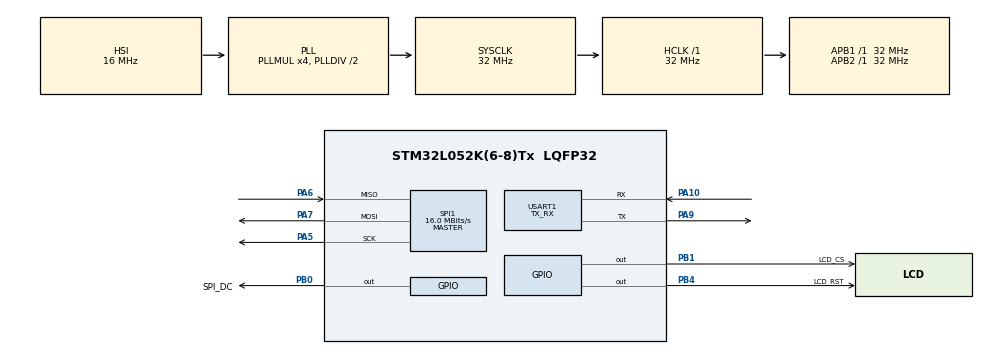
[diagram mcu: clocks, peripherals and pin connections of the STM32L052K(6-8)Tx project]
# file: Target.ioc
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Mcu.Family=STM32L0
Mcu.Name=STM32L052K(6-8)Tx
Mcu.Package=LQFP32
NVIC.USART1_IRQn=true\:0\:0\:false\:true\:true\:1\:true\:true\:true
PA10.Mode=Asynchronous
PA10.Signal=USART1_RX
PA13.Mode=Serial_Wire
PA13.Signal=SYS_SWDIO
PA14.Mode=Serial_Wire
PA14.Signal=SYS_SWCLK
PA5.Mode=Full_Duplex_Master
PA5.Signal=SPI1_SCK
PA6.Mode=Full_Duplex_Master
PA6.Signal=SPI1_MISO
PA7.Mode=Full_Duplex_Master
PA7.Signal=SPI1_MOSI
PA9.Mode=Asynchronous
PA9.Signal=USART1_TX
PB0.GPIO_Label=SPI_DC
PB0.GPIO_Speed=GPIO_SPEED_FREQ_VERY_HIGH
PB0.Signal=GPIO_Output
PB1.GPIO_Label=LCD_CS
PB1.GPIO_Speed=GPIO_SPEED_FREQ_VERY_HIGH
PB1.Signal=GPIO_Output
PB4.GPIO_Label=LCD_RST
PB4.GPIO_Speed=GPIO_SPEED_FREQ_VERY_HIGH
PB4.Signal=GPIO_Output
ProjectManager.HeapSize=0x200
ProjectManager.StackSize=0x400
ProjectManager.TargetToolchain=STM32CubeIDE
RCC.AHBFreq_Value=32000000
RCC.APB1Freq_Value=32000000
RCC.APB1TimFreq_Value=32000000
RCC.APB2Freq_Value=32000000
RCC.APB2TimFreq_Value=32000000
RCC.HCLKFreq_Value=32000000
RCC.HSI16_VALUE=16000000
RCC.HSI48_VALUE=48000000
RCC.HSI_VALUE=16000000
RCC.LSE_VALUE=32768
RCC.MSI_VALUE=2097000
RCC.PLLMUL=RCC_PLLMUL_4
RCC.SYSCLKFreq_VALUE=32000000
RCC.SYSCLKSource=RCC_SYSCLKSOURCE_PLLCLK
RCC.VCOOutputFreq_Value=64000000
SPI1.CalculateBaudRate=16.0 MBits/s
SPI1.Direction=SPI_DIRECTION_2LINES
SPI1.Mode=SPI_MODE_MASTER
SPI1.VirtualType=VM_MASTER
USART1.Mode=MODE_TX_RX
USART1.SwapParam=ADVFEATURE_SWAP_DISABLE
USART1.VirtualMode-Asynchronous=VM_ASYNC
board=custom

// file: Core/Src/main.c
/* USER CODE BEGIN Header */
/**
 ******************************************************************************
 * @file           : main.c
 * @brief          : Main program body
 ******************************************************************************
 * @attention
 *
 * Copyright (c) 2023 STMicroelectronics.
 * All rights reserved.
 *
 * This software is licensed under terms that can be found in the LICENSE file
 * in the root directory of this software component.
 * If no LICENSE file comes with this software, it is provided AS-IS.
 *
 ******************************************************************************
 */
/* USER CODE END Header */
#include "main.h"

/* USER CODE BEGIN Includes */
#include <stdio.h>
#include "fonts.h"
#include "ILI9341_GFX.h"
#include "ILI9341_STM32_Driver.h"
/* USER CODE END Includes */

/* USER CODE BEGIN PTD */
typedef enum{
	black, blue, green, red, yellow, white,
}LCD_COLOR;
/* USER CODE END PTD */

 SPI_HandleTypeDef hspi1;

UART_HandleTypeDef huart1;

/* USER CODE BEGIN PV */
uint8_t RxData;
uint8_t Txdata = 1;
uint8_t uartDat[10];
uint16_t COLOR[6] = { BLACK, BLUE, GREEN, RED, YELLOW, WHITE };
/* USER CODE END PV */

void SystemClock_Config(void);
static void MX_GPIO_Init(void);
static void MX_SPI1_Init(void);
static void MX_USART1_UART_Init(void);
static void MX_NVIC_Init(void);
/* USER CODE BEGIN PFP */

__STATIC_INLINE void reset_check(void){
	if(__HAL_RCC_GET_FLAG(RCC_FLAG_PORRST)){
		__HAL_RCC_CLEAR_RESET_FLAGS();
		HAL_DeInit();
		HAL_NVIC_SystemReset();
	}
}

/* USER CODE END PFP */

/* USER CODE BEGIN 0 */
void HAL_UART_RxCpltCallback(UART_HandleTypeDef *huart){
	if(huart->Instance == huart1.Instance){
		if(RxData == 0) return;
		HAL_UART_Transmit(&huart1, &Txdata, 1, 10);
		if(RxData == 1){
			HAL_UART_Receive(&huart1, uartDat, 1, 10);
			ILI9341_DrawColor(COLOR[uartDat[0]]);
		}
		if(RxData == 2){
			uint32_t size = 0;
			HAL_UART_Receive(&huart1, uartDat, 5, 10);
			for(uint8_t i = 0 ; i < 4 ; i++){
				size <<= 8;
				size |= uartDat[4 - i];
			}
			ILI9341_DrawColorBurst(COLOR[uartDat[0]], size);
		}
		if(RxData == 3){
			HAL_UART_Receive(&huart1, uartDat, 1, 10);
			ILI9341_FillScreen(COLOR[uartDat[0]]);
		}
		if(RxData == 4){
			uint16_t x = 0, y = 0;
			HAL_UART_Receive(&huart1, uartDat, 5, 10);
			x = uartDat[1];
			x <<= 8;
			x |= uartDat[0];
			y = uartDat[3];
			y <<= 8;
			y |= uartDat[2];
			ILI9341_DrawPixel(x, y, COLOR[uartDat[4]]);
		}
		if(RxData == 5){
			uint16_t x = 0, y = 0, width = 0, height = 0;
			HAL_UART_Receive(&huart1, uartDat, 9, 10);
			x = uartDat[1];
			x <<= 8;
			x |= uartDat[0];
			y = uartDat[3];
			y <<= 8;
			y |= uartDat[2];
			width = uartDat[5];
			width <<= 8;
			width |= uartDat[4];
			height = uartDat[7];
			height <<= 8;
			height |= uartDat[6];
			ILI9341_DrawRectangle(x, y, width, height, COLOR[uartDat[8]]);
		}
		if(RxData == 6){
			uint16_t x = 0, y = 0, width = 0;
			HAL_UART_Receive(&huart1, uartDat, 7, 10);
			x = uartDat[1];
			x <<= 8;
			x |= uartDat[0];
			y = uartDat[3];
			y <<= 8;
			y |= uartDat[2];
			width = uartDat[5];
			width <<= 8;
			width |= uartDat[4];
			ILI9341_DrawHLine(x, y, width, COLOR[uartDat[6]]);
		}
		if(RxData == 7){
			uint16_t x = 0, y = 0, height = 0;
			HAL_UART_Receive(&huart1, uartDat, 7, 10);
			x = uartDat[1];
			x <<= 8;
			x |= uartDat[0];
			y = uartDat[3];
			y <<= 8;
			y |= uartDat[2];
			height = uartDat[5];
			height <<= 8;
			height |= uartDat[4];
			ILI9341_DrawVLine(x, y, height, COLOR[uartDat[6]]);
		}
		if(RxData == 8){
			uint16_t x = 0, y = 0, radius = 0;
			HAL_UART_Receive(&huart1, uartDat, 7, 10);
			x = uartDat[1];
			x <<= 8;
			x |= uartDat[0];
			y = uartDat[3];
			y <<= 8;
			y |= uartDat[2];
			radius = uartDat[5];
			radius <<= 8;
			radius |= uartDat[4];
			ILI9341_DrawHollowCircle(x, y, radius, COLOR[uartDat[6]]);
		}
		if(RxData == 9){
			uint16_t x = 0, y = 0, radius = 0;
			HAL_UART_Receive(&huart1, uartDat, 7, 10);
			x = uartDat[1];
			x <<= 8;
			x |= uartDat[0];
			y = uartDat[3];
			y <<= 8;
			y |= uartDat[2];
			radius = uartDat[5];
			radius <<= 8;
			radius |= uartDat[4];
			ILI9341_DrawFilledCircle(x, y, radius, COLOR[uartDat[6]]);
		}
		if(RxData == 10){
			uint16_t x0, y0, x1, y1;
			HAL_UART_Receive(&huart1, uartDat, 9, 10);
			x0 = uartDat[1];
			x0 <<= 8;
			x0 |= uartDat[0];
			y0 = uartDat[3];
			y0 <<= 8;
			y0 |= uartDat[2];
			x1 = uartDat[5];
			x1 <<= 8;
			x1 |= uartDat[4];
			y1 = uartDat[7];
			y1 <<= 8;
			y1 |= uartDat[6];
			ILI9341_DrawHollowRectangleCoord(x0, y0, x1, y1, COLOR[uartDat[8]]);
		}
		if(RxData == 11){
			uint16_t x0, y0, x1, y1;
			HAL_UART_Receive(&huart1, uartDat, 9, 10);
			x0 = uartDat[1];
			x0 <<= 8;
			x0 |= uartDat[0];
			y0 = uartDat[3];
			y0 <<= 8;
			y0 |= uartDat[2];
			x1 = uartDat[5];
			x1 <<= 8;
			x1 |= uartDat[4];
			y1 = uartDat[7];
			y1 <<= 8;
			y1 |= uartDat[6];
			ILI9341_DrawFilledRectangleCoord(x0, y0, x1, y1, COLOR[uartDat[8]]);
		}
		if(RxData == 12){
			char ch;
			uint16_t x = 0, y = 0;
			HAL_UART_Receive(&huart1, uartDat, 7, 10);
			ch = (char)uartDat[0];
			x = uartDat[2];
			x <<= 8;
			x |= uartDat[1];
			y = uartDat[4];
			y <<= 8;
			y |= uartDat[3];
			ILI9341_DrawChar(ch, FONT, x, y, COLOR[uartDat[5]], COLOR[uartDat[6]]);
		}
		if(RxData == 13){
			char str[40] = { 0 };
			uint8_t cnt = 0;
			uint16_t x = 0, y = 0;

			while(1){
				char data;
				HAL_UART_Receive(&huart1, (uint8_t*)&data, 1, 10);

				if(data == '\0'){
					str[cnt] = '\0';
					break;
				}
				else str[cnt++] = data;
			}
			HAL_UART_Receive(&huart1, uartDat, 6, 10);
			x = uartDat[1];
			x <<= 8;
			x |= uartDat[0];
			y = uartDat[3];
			y <<= 8;
			y |= uartDat[2];
			ILI9341_DrawText(str, FONT, x, y, COLOR[uartDat[4]], COLOR[uartDat[5]]);
		}
		if(RxData == 14){
			ILI9341_Init();
		}
//		HAL_UART_Receive_IT(&huart1, &RxData, 1);
	}
}
/* USER CODE END 0 */

int main(void)
{

  /* MCU Configuration--------------------------------------------------------*/

  /* Reset of all peripherals, Initializes the Flash interface and the Systick. */
  HAL_Init();

  /* Configure the system clock */
  SystemClock_Config();

  /* Initialize all configured peripherals */
  MX_GPIO_Init();
  MX_SPI1_Init();
  MX_USART1_UART_Init();

  /* Initialize interrupts */
  MX_NVIC_Init();
  /* USER CODE BEGIN 2 */
  ILI9341_Init();
  /* USER CODE END 2 */

  /* Infinite loop */
  /* USER CODE BEGIN WHILE */
	while (1)
	{
//		reset_check();
		HAL_UART_Receive_IT(&huart1, &RxData, 1);
    /* USER CODE END WHILE */

	}
}

void SystemClock_Config(void)
{
  RCC_OscInitTypeDef RCC_OscInitStruct = {0};
  RCC_ClkInitTypeDef RCC_ClkInitStruct = {0};
  RCC_PeriphCLKInitTypeDef PeriphClkInit = {0};

  /** Configure the main internal regulator output voltage
  */
  __HAL_PWR_VOLTAGESCALING_CONFIG(PWR_REGULATOR_VOLTAGE_SCALE1);

  /** Initializes the RCC Oscillators according to the specified parameters
  * in the RCC_OscInitTypeDef structure.
  */
  RCC_OscInitStruct.OscillatorType = RCC_OSCILLATORTYPE_HSI;
  RCC_OscInitStruct.HSIState = RCC_HSI_ON;
  RCC_OscInitStruct.HSICalibrationValue = RCC_HSICALIBRATION_DEFAULT;
  RCC_OscInitStruct.PLL.PLLState = RCC_PLL_ON;
  RCC_OscInitStruct.PLL.PLLSource = RCC_PLLSOURCE_HSI;
  RCC_OscInitStruct.PLL.PLLMUL = RCC_PLLMUL_4;
  RCC_OscInitStruct.PLL.PLLDIV = RCC_PLLDIV_2;
  if (HAL_RCC_OscConfig(&RCC_OscInitStruct) != HAL_OK)
  {
    Error_Handler();
  }

  /** Initializes the CPU, AHB and APB buses clocks
  */
  RCC_ClkInitStruct.ClockType = RCC_CLOCKTYPE_HCLK|RCC_CLOCKTYPE_SYSCLK
                              |RCC_CLOCKTYPE_PCLK1|RCC_CLOCKTYPE_PCLK2;
  RCC_ClkInitStruct.SYSCLKSource = RCC_SYSCLKSOURCE_PLLCLK;
  RCC_ClkInitStruct.AHBCLKDivider = RCC_SYSCLK_DIV1;
  RCC_ClkInitStruct.APB1CLKDivider = RCC_HCLK_DIV1;
  RCC_ClkInitStruct.APB2CLKDivider = RCC_HCLK_DIV1;

  if (HAL_RCC_ClockConfig(&RCC_ClkInitStruct, FLASH_LATENCY_1) != HAL_OK)
  {
    Error_Handler();
  }
  PeriphClkInit.PeriphClockSelection = RCC_PERIPHCLK_USART1;
  PeriphClkInit.Usart1ClockSelection = RCC_USART1CLKSOURCE_PCLK2;
  if (HAL_RCCEx_PeriphCLKConfig(&PeriphClkInit) != HAL_OK)
  {
    Error_Handler();
  }
}

/**
  * @brief NVIC Configuration.
  * @retval None
  */
static void MX_NVIC_Init(void)
{
  /* USART1_IRQn interrupt configuration */
  HAL_NVIC_SetPriority(USART1_IRQn, 0, 0);
  HAL_NVIC_EnableIRQ(USART1_IRQn);
}

static void MX_SPI1_Init(void)
{

  /* SPI1 parameter configuration*/
  hspi1.Instance = SPI1;
  hspi1.Init.Mode = SPI_MODE_MASTER;
  hspi1.Init.Direction = SPI_DIRECTION_2LINES;
  hspi1.Init.DataSize = SPI_DATASIZE_8BIT;
  hspi1.Init.CLKPolarity = SPI_POLARITY_LOW;
  hspi1.Init.CLKPhase = SPI_PHASE_1EDGE;
  hspi1.Init.NSS = SPI_NSS_SOFT;
  hspi1.Init.BaudRatePrescaler = SPI_BAUDRATEPRESCALER_2;
  hspi1.Init.FirstBit = SPI_FIRSTBIT_MSB;
  hspi1.Init.TIMode = SPI_TIMODE_DISABLE;
  hspi1.Init.CRCCalculation = SPI_CRCCALCULATION_DISABLE;
  hspi1.Init.CRCPolynomial = 7;
  if (HAL_SPI_Init(&hspi1) != HAL_OK)
  {
    Error_Handler();
  }

}

static void MX_USART1_UART_Init(void)
{

  huart1.Instance = USART1;
  huart1.Init.BaudRate = 115200;
  huart1.Init.WordLength = UART_WORDLENGTH_8B;
  huart1.Init.StopBits = UART_STOPBITS_1;
  huart1.Init.Parity = UART_PARITY_NONE;
  huart1.Init.Mode = UART_MODE_TX_RX;
  huart1.Init.HwFlowCtl = UART_HWCONTROL_NONE;
  huart1.Init.OverSampling = UART_OVERSAMPLING_16;
  huart1.Init.OneBitSampling = UART_ONE_BIT_SAMPLE_DISABLE;
  huart1.AdvancedInit.AdvFeatureInit = UART_ADVFEATURE_NO_INIT;
  if (HAL_UART_Init(&huart1) != HAL_OK)
  {
    Error_Handler();
  }

}

static void MX_GPIO_Init(void)
{
  GPIO_InitTypeDef GPIO_InitStruct = {0};

  /* GPIO Ports Clock Enable */
  __HAL_RCC_GPIOA_CLK_ENABLE();
  __HAL_RCC_GPIOB_CLK_ENABLE();

  /*Configure GPIO pin Output Level */
  HAL_GPIO_WritePin(GPIOB, SPI_DC_Pin|LCD_CS_Pin|LCD_RST_Pin, GPIO_PIN_RESET);

  /*Configure GPIO pins : SPI_DC_Pin LCD_CS_Pin LCD_RST_Pin */
  GPIO_InitStruct.Pin = SPI_DC_Pin|LCD_CS_Pin|LCD_RST_Pin;
  GPIO_InitStruct.Mode = GPIO_MODE_OUTPUT_PP;
  GPIO_InitStruct.Pull = GPIO_NOPULL;
  GPIO_InitStruct.Speed = GPIO_SPEED_FREQ_VERY_HIGH;
  HAL_GPIO_Init(GPIOB, &GPIO_InitStruct);

}

void Error_Handler(void)
{
  /* USER CODE BEGIN Error_Handler_Debug */
	/* User can add his own implementation to report the HAL error return state */
	__disable_irq();
	while (1)
	{
		HAL_NVIC_SystemReset();
	}
  /* USER CODE END Error_Handler_Debug */
}
